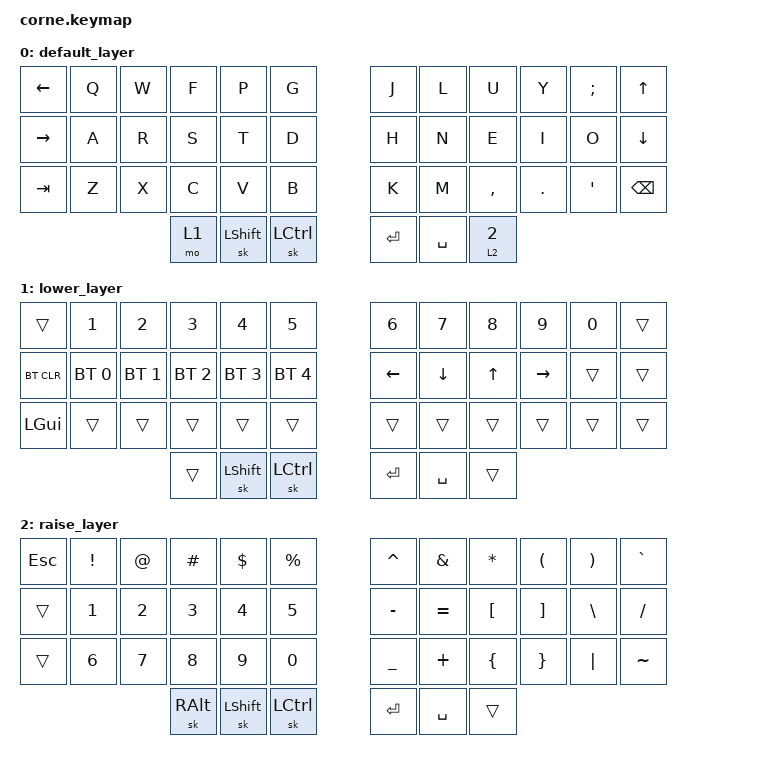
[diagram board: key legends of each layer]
/*
 * Copyright (c) 2020 The ZMK Contributors
 *
 * SPDX-License-Identifier: MIT
 */

#include <behaviors.dtsi>
#include <dt-bindings/zmk/keys.h>
#include <dt-bindings/zmk/bt.h>

/ {
        keymap {
                compatible = "zmk,keymap";

                default_layer {
// -----------------------------------------------------------------------------------------
// | LEFT |  Q  |  W  |  F  |  P  |  G  |   |  J  |  L   |  U  |  Y  |  ;  | UP   |
// | RIGHT|  A  |  R  |  S  |  T  |  D  |   |  H  |  N   |  E  |  I  |  O  | DOWN |
// | TAB  |  Z  |  X  |  C  |  V  |  B  |   |  K  |  M   |  ,  |  .  |  '  | BKSP |
//                    | LWR | SHFT| CTRL|   | ENT | SPC  | RSE |
                        bindings = <
   &kp LEFT   &kp Q &kp W &kp F &kp P &kp G   &kp J &kp L  &kp U     &kp Y   &kp SEMI &kp UP
   &kp RIGHT  &kp A &kp R &kp S &kp T &kp D   &kp H &kp N  &kp E     &kp I   &kp O    &kp DOWN
   &kp TAB    &kp Z &kp X &kp C &kp V &kp B   &kp K &kp M  &kp COMMA &kp DOT &kp SQT  &kp BSPC
                 &mo 1  &sk LSHFT &sk LCTRL   &kp RET &kp SPACE &lt 2 2
                        >;
                };
                lower_layer {
// -----------------------------------------------------------------------------------------
// |      |  1  |  2  |  3  |  4  |  5  |   |  6  |  7  |  8  |  9  |  0  |      |
// | BTCLR| BT1 | BT2 | BT3 | BT4 | BT5 |   | LFT | DWN |  UP | RGT |     |      |
// | GUI  |     |     |     |     |     |   |     |     |     |     |     |      |
//                    |     | SHFT| CTRL|   | ENT | SPC |     |
                        bindings = <
   &trans     &kp N1       &kp N2       &kp N3       &kp N4       &kp N5         &kp N6   &kp N7    &kp N8 &kp N9    &kp N0 &trans
   &bt BT_CLR &bt BT_SEL 0 &bt BT_SEL 1 &bt BT_SEL 2 &bt BT_SEL 3 &bt BT_SEL 4   &kp LEFT &kp DOWN  &kp UP &kp RIGHT &trans &trans
   &kp LGUI   &trans       &trans       &trans       &trans       &trans         &trans   &trans    &trans &trans    &trans &trans
                                        &trans       &sk LSHFT    &sk LCTRL      &kp RET  &kp SPACE &trans
                        >;
                };

                raise_layer {
// -----------------------------------------------------------------------------------------
// | ESC  |  !  |  @  |  #  |  $  |  %  |   |  ^  |  &  |  *  |  (  |  )  |  `   |
// |      |  1  |  2  |  3  |  4  |  5  |   |  -  |  =  |  [  |  ]  |  \  |  /   |
// |      |  6  |  7  |  8  |  9  |  0  |   |  _  |  +  |  {  |  }  | "|" |  ~   |
//                    | ALT | SHFT| CTRL|   | ENT | SPC |     |
                        bindings = <
   &kp ESC  &kp EXCL &kp AT &kp HASH &kp DLLR &kp PRCNT   &kp CARET &kp AMPS  &kp ASTRK &kp LPAR &kp RPAR &kp GRAVE
   &trans   &kp N1   &kp N2 &kp N3   &kp N4   &kp N5      &kp MINUS &kp EQUAL &kp LBKT  &kp RBKT &kp BSLH &kp FSLH
   &trans   &kp N6   &kp N7 &kp N8   &kp N9   &kp N0      &kp UNDER &kp PLUS  &kp LBRC  &kp RBRC &kp PIPE &kp TILDE
                          &sk RALT &sk LSHFT &sk LCTRL    &kp RET   &kp SPACE &trans
                        >;
                };
        };
};
